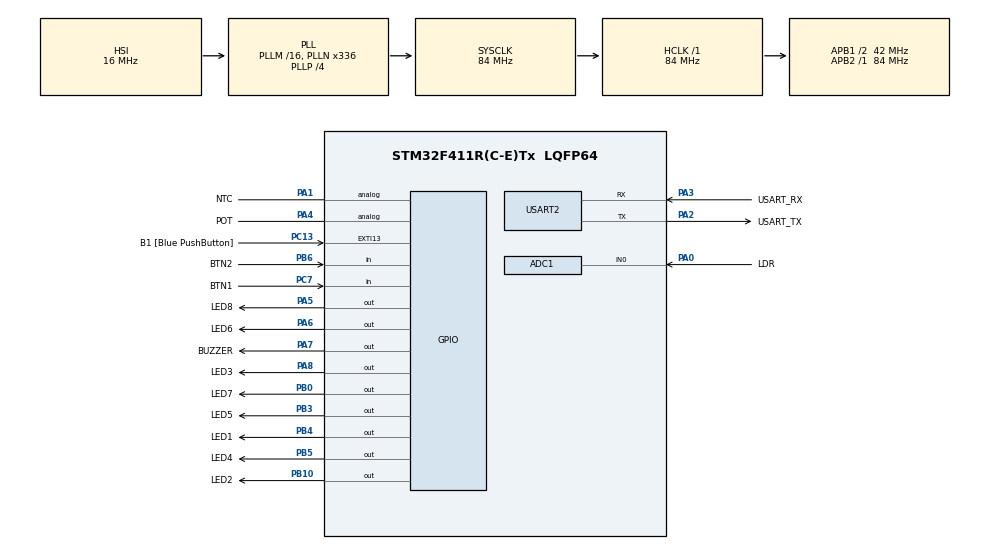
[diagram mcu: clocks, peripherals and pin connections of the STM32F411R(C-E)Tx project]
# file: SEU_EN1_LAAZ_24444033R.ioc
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ADC1.Channel-4\#ChannelRegularConversion=ADC_CHANNEL_0
ADC1.NbrOfConversionFlag=1
ADC1.Rank-4\#ChannelRegularConversion=1
ADC1.SamplingTime-4\#ChannelRegularConversion=ADC_SAMPLETIME_3CYCLES
ADC1.master=1
Mcu.Family=STM32F4
Mcu.Name=STM32F411R(C-E)Tx
Mcu.Package=LQFP64
NVIC.PriorityGroup=NVIC_PRIORITYGROUP_0
PA0-WKUP.GPIO_Label=LDR
PA0-WKUP.Signal=SharedAnalog_PA0
PA1.GPIO_Label=NTC
PA1.Signal=GPIO_Analog
PA13.GPIO_Label=TMS
PA13.Mode=Serial_Wire
PA13.Signal=SYS_JTMS-SWDIO
PA14.GPIO_Label=TCK
PA14.Mode=Serial_Wire
PA14.Signal=SYS_JTCK-SWCLK
PA2.GPIO_Label=USART_TX
PA2.Mode=Asynchronous
PA2.Signal=USART2_TX
PA3.GPIO_Label=USART_RX
PA3.Mode=Asynchronous
PA3.Signal=USART2_RX
PA4.GPIO_Label=POT
PA4.Signal=GPIO_Analog
PA5.GPIO_Label=LED8
PA5.Signal=GPIO_Output
PA6.GPIO_Label=LED6
PA6.Signal=GPIO_Output
PA7.GPIO_Label=BUZZER
PA7.Signal=GPIO_Output
PA8.GPIO_Label=LED3
PA8.Signal=GPIO_Output
PB0.GPIO_Label=LED7
PB0.Signal=GPIO_Output
PB10.GPIO_Label=LED2
PB10.Signal=GPIO_Output
PB3.GPIO_Label=LED5
PB3.Signal=GPIO_Output
PB4.GPIO_Label=LED1
PB4.Signal=GPIO_Output
PB5.GPIO_Label=LED4
PB5.Signal=GPIO_Output
PB6.GPIO_Label=BTN2
PB6.GPIO_PuPd=GPIO_PULLUP
PB6.Signal=GPIO_Input
PC13-ANTI_TAMP.GPIO_Label=B1 [Blue PushButton]
PC13-ANTI_TAMP.GPIO_ModeDefaultEXTI=GPIO_MODE_IT_FALLING
PC13-ANTI_TAMP.Signal=GPXTI13
PC14-OSC32_IN.Mode=LSE-External-Oscillator
PC14-OSC32_IN.Signal=RCC_OSC32_IN
PC15-OSC32_OUT.Mode=LSE-External-Oscillator
PC15-OSC32_OUT.Signal=RCC_OSC32_OUT
PC7.GPIO_Label=BTN1
PC7.GPIO_PuPd=GPIO_PULLUP
PC7.Signal=GPIO_Input
PH0\ -\ OSC_IN.Mode=HSE-External-Clock-Source
PH0\ -\ OSC_IN.Signal=RCC_OSC_IN
PH1\ -\ OSC_OUT.Mode=HSE-External-Clock-Source
PH1\ -\ OSC_OUT.Signal=RCC_OSC_OUT
ProjectManager.HeapSize=0x200
ProjectManager.StackSize=0x400
ProjectManager.TargetToolchain=STM32CubeIDE
RCC.48MHZClocksFreq_Value=84000000
RCC.AHBFreq_Value=84000000
RCC.APB1CLKDivider=RCC_HCLK_DIV2
RCC.APB1Freq_Value=42000000
RCC.APB1TimFreq_Value=84000000
RCC.APB2Freq_Value=84000000
RCC.APB2TimFreq_Value=84000000
RCC.CortexFreq_Value=84000000
RCC.FLatency-AdvancedSettings=FLASH_LATENCY_2
RCC.HCLKFreq_Value=84000000
RCC.HSE_VALUE=8000000
RCC.HSI_VALUE=16000000
RCC.PLLN=336
RCC.PLLP=RCC_PLLP_DIV4
RCC.SYSCLKFreq_VALUE=84000000
RCC.SYSCLKSource=RCC_SYSCLKSOURCE_PLLCLK
RCC.VCOOutputFreq_Value=336000000
SH.SharedAnalog_PA0.0=GPIO_Analog
SH.SharedAnalog_PA0.1=ADC1_IN0,IN0
USART2.VirtualMode=VM_ASYNC
board=NUCLEO-F411RE

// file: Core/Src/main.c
/* USER CODE BEGIN Header */
/**
  ******************************************************************************
  * @file           : main.c
  * @brief          : Main program body
  ******************************************************************************
  * @attention
  *
  * Copyright (c) 2023 STMicroelectronics.
  * All rights reserved.
  *
  * This software is licensed under terms that can be found in the LICENSE file
  * in the root directory of this software component.
  * If no LICENSE file comes with this software, it is provided AS-IS.
  *
  ******************************************************************************
  */
/* USER CODE END Header */
#include "main.h"

/* USER CODE BEGIN Includes */
#include <stdio.h>
#include <HW.h>
#include <stdint.h>
#include <stdbool.h>

/* USER CODE END Includes */

ADC_HandleTypeDef hadc1;

UART_HandleTypeDef huart2;

void SystemClock_Config(void);
static void MX_GPIO_Init(void);
static void MX_USART2_UART_Init(void);
static void MX_ADC1_Init(void);

/* USER CODE BEGIN 0 */
int _write(int file, char *ptr, int len){
    int DataIdx;
    for (DataIdx = 0; DataIdx < len; DataIdx++){
   	 HAL_UART_Transmit(&huart2, (uint8_t*)ptr++,1,1000);
    }
    return len;
}

/* USER CODE END 0 */

int main(void)
{

  /* MCU Configuration--------------------------------------------------------*/

  /* Reset of all peripherals, Initializes the Flash interface and the Systick. */
  HAL_Init();

  /* Configure the system clock */
  SystemClock_Config();

  /* Initialize all configured peripherals */
  MX_GPIO_Init();
  MX_USART2_UART_Init();
  MX_ADC1_Init();
  /* USER CODE BEGIN 2 */
  printf("PROJ %s DATE  %s \r\n","Entregable LAAZ",__TIME__);
  /* USER CODE END 2 */

  /* Infinite loop */
  /* USER CODE BEGIN WHILE */

  bool bt1_lock = true;

  bool bt2_lock = true;
  int state = GPIO_PIN_SET;

  float (*valores[2])();
  valores[0] = &Valor_lum;
  valores[1] = &Valor_temp;
  bool buzzer_state=false;
  int buzzer_counter=0;
  int v_index= 0;
  while (1)
  {

	  Boton_izquierdo( &v_index, &bt1_lock);
	  Boton_derecho( &v_index, &bt2_lock,&buzzer_state);

	  put_leds(valores[v_index]());

	  pot_led_threshold(Valor_pot(),state);

	  state = !state;

	  Check_buzzer( valores[v_index](), &buzzer_state, &buzzer_counter);

	  {int c; for(c=0;c<1000000;c++);}
    /* USER CODE END WHILE */

  }
}

void SystemClock_Config(void)
{
  RCC_OscInitTypeDef RCC_OscInitStruct = {0};
  RCC_ClkInitTypeDef RCC_ClkInitStruct = {0};

  /** Configure the main internal regulator output voltage
  */
  __HAL_RCC_PWR_CLK_ENABLE();
  __HAL_PWR_VOLTAGESCALING_CONFIG(PWR_REGULATOR_VOLTAGE_SCALE1);

  /** Initializes the RCC Oscillators according to the specified parameters
  * in the RCC_OscInitTypeDef structure.
  */
  RCC_OscInitStruct.OscillatorType = RCC_OSCILLATORTYPE_HSI;
  RCC_OscInitStruct.HSIState = RCC_HSI_ON;
  RCC_OscInitStruct.HSICalibrationValue = RCC_HSICALIBRATION_DEFAULT;
  RCC_OscInitStruct.PLL.PLLState = RCC_PLL_ON;
  RCC_OscInitStruct.PLL.PLLSource = RCC_PLLSOURCE_HSI;
  RCC_OscInitStruct.PLL.PLLM = 16;
  RCC_OscInitStruct.PLL.PLLN = 336;
  RCC_OscInitStruct.PLL.PLLP = RCC_PLLP_DIV4;
  RCC_OscInitStruct.PLL.PLLQ = 4;
  if (HAL_RCC_OscConfig(&RCC_OscInitStruct) != HAL_OK)
  {
    Error_Handler();
  }

  /** Initializes the CPU, AHB and APB buses clocks
  */
  RCC_ClkInitStruct.ClockType = RCC_CLOCKTYPE_HCLK|RCC_CLOCKTYPE_SYSCLK
                              |RCC_CLOCKTYPE_PCLK1|RCC_CLOCKTYPE_PCLK2;
  RCC_ClkInitStruct.SYSCLKSource = RCC_SYSCLKSOURCE_PLLCLK;
  RCC_ClkInitStruct.AHBCLKDivider = RCC_SYSCLK_DIV1;
  RCC_ClkInitStruct.APB1CLKDivider = RCC_HCLK_DIV2;
  RCC_ClkInitStruct.APB2CLKDivider = RCC_HCLK_DIV1;

  if (HAL_RCC_ClockConfig(&RCC_ClkInitStruct, FLASH_LATENCY_2) != HAL_OK)
  {
    Error_Handler();
  }
}

static void MX_ADC1_Init(void)
{

  ADC_ChannelConfTypeDef sConfig = {0};

  /** Configure the global features of the ADC (Clock, Resolution, Data Alignment and number of conversion)
  */
  hadc1.Instance = ADC1;
  hadc1.Init.ClockPrescaler = ADC_CLOCK_SYNC_PCLK_DIV4;
  hadc1.Init.Resolution = ADC_RESOLUTION_12B;
  hadc1.Init.ScanConvMode = DISABLE;
  hadc1.Init.ContinuousConvMode = DISABLE;
  hadc1.Init.DiscontinuousConvMode = DISABLE;
  hadc1.Init.ExternalTrigConvEdge = ADC_EXTERNALTRIGCONVEDGE_NONE;
  hadc1.Init.ExternalTrigConv = ADC_SOFTWARE_START;
  hadc1.Init.DataAlign = ADC_DATAALIGN_RIGHT;
  hadc1.Init.NbrOfConversion = 1;
  hadc1.Init.DMAContinuousRequests = DISABLE;
  hadc1.Init.EOCSelection = ADC_EOC_SINGLE_CONV;
  if (HAL_ADC_Init(&hadc1) != HAL_OK)
  {
    Error_Handler();
  }

  /** Configure for the selected ADC regular channel its corresponding rank in the sequencer and its sample time.
  */
  sConfig.Channel = ADC_CHANNEL_0;
  sConfig.Rank = 1;
  sConfig.SamplingTime = ADC_SAMPLETIME_3CYCLES;
  if (HAL_ADC_ConfigChannel(&hadc1, &sConfig) != HAL_OK)
  {
    Error_Handler();
  }

}

static void MX_USART2_UART_Init(void)
{

  huart2.Instance = USART2;
  huart2.Init.BaudRate = 115200;
  huart2.Init.WordLength = UART_WORDLENGTH_8B;
  huart2.Init.StopBits = UART_STOPBITS_1;
  huart2.Init.Parity = UART_PARITY_NONE;
  huart2.Init.Mode = UART_MODE_TX_RX;
  huart2.Init.HwFlowCtl = UART_HWCONTROL_NONE;
  huart2.Init.OverSampling = UART_OVERSAMPLING_16;
  if (HAL_UART_Init(&huart2) != HAL_OK)
  {
    Error_Handler();
  }

}

static void MX_GPIO_Init(void)
{
  GPIO_InitTypeDef GPIO_InitStruct = {0};

  /* GPIO Ports Clock Enable */
  __HAL_RCC_GPIOC_CLK_ENABLE();
  __HAL_RCC_GPIOH_CLK_ENABLE();
  __HAL_RCC_GPIOA_CLK_ENABLE();
  __HAL_RCC_GPIOB_CLK_ENABLE();

  /*Configure GPIO pin Output Level */
  HAL_GPIO_WritePin(GPIOA, LED8_Pin|LED6_Pin|BUZZER_Pin|LED3_Pin, GPIO_PIN_RESET);

  /*Configure GPIO pin Output Level */
  HAL_GPIO_WritePin(GPIOB, LED7_Pin|LED2_Pin|LED5_Pin|LED1_Pin
                          |LED4_Pin, GPIO_PIN_RESET);

  /*Configure GPIO pin : B1_Pin */
  GPIO_InitStruct.Pin = B1_Pin;
  GPIO_InitStruct.Mode = GPIO_MODE_IT_FALLING;
  GPIO_InitStruct.Pull = GPIO_NOPULL;
  HAL_GPIO_Init(B1_GPIO_Port, &GPIO_InitStruct);

  /*Configure GPIO pins : NTC_Pin POT_Pin */
  GPIO_InitStruct.Pin = NTC_Pin|POT_Pin;
  GPIO_InitStruct.Mode = GPIO_MODE_ANALOG;
  GPIO_InitStruct.Pull = GPIO_NOPULL;
  HAL_GPIO_Init(GPIOA, &GPIO_InitStruct);

  /*Configure GPIO pins : LED8_Pin LED6_Pin BUZZER_Pin LED3_Pin */
  GPIO_InitStruct.Pin = LED8_Pin|LED6_Pin|BUZZER_Pin|LED3_Pin;
  GPIO_InitStruct.Mode = GPIO_MODE_OUTPUT_PP;
  GPIO_InitStruct.Pull = GPIO_NOPULL;
  GPIO_InitStruct.Speed = GPIO_SPEED_FREQ_LOW;
  HAL_GPIO_Init(GPIOA, &GPIO_InitStruct);

  /*Configure GPIO pins : LED7_Pin LED2_Pin LED5_Pin LED1_Pin
                           LED4_Pin */
  GPIO_InitStruct.Pin = LED7_Pin|LED2_Pin|LED5_Pin|LED1_Pin
                          |LED4_Pin;
  GPIO_InitStruct.Mode = GPIO_MODE_OUTPUT_PP;
  GPIO_InitStruct.Pull = GPIO_NOPULL;
  GPIO_InitStruct.Speed = GPIO_SPEED_FREQ_LOW;
  HAL_GPIO_Init(GPIOB, &GPIO_InitStruct);

  /*Configure GPIO pin : BTN1_Pin */
  GPIO_InitStruct.Pin = BTN1_Pin;
  GPIO_InitStruct.Mode = GPIO_MODE_INPUT;
  GPIO_InitStruct.Pull = GPIO_PULLUP;
  HAL_GPIO_Init(BTN1_GPIO_Port, &GPIO_InitStruct);

  /*Configure GPIO pin : BTN2_Pin */
  GPIO_InitStruct.Pin = BTN2_Pin;
  GPIO_InitStruct.Mode = GPIO_MODE_INPUT;
  GPIO_InitStruct.Pull = GPIO_PULLUP;
  HAL_GPIO_Init(BTN2_GPIO_Port, &GPIO_InitStruct);

}

void Error_Handler(void)
{
  __disable_irq();
  while (1)
  {
  }
}
